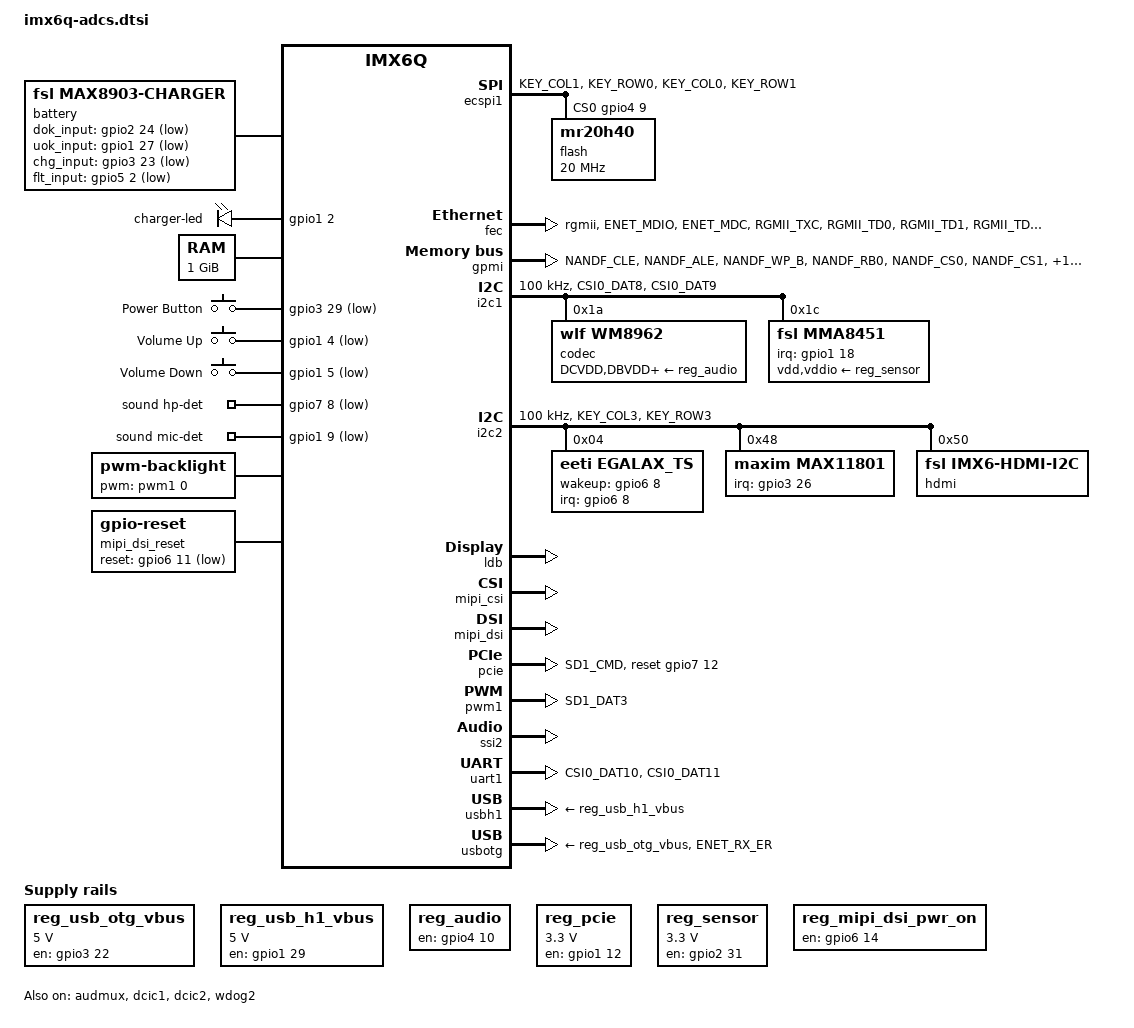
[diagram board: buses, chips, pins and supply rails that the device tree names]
/*
 * Copyright 2012-2015 Freescale Semiconductor, Inc.
 * Copyright 2011 Linaro Ltd.
 *
 * The code contained herein is licensed under the GNU General Public
 * License. You may obtain a copy of the GNU General Public License
 * Version 2 or later at the following locations:
 *
 * http://www.opensource.org/licenses/gpl-license.html
 * http://www.gnu.org/copyleft/gpl.html
 */

#include <dt-bindings/gpio/gpio.h>
#include <dt-bindings/input/input.h>

/ {
	aliases {
		mxcfb0 = &mxcfb1;
		mxcfb1 = &mxcfb2;
		mxcfb2 = &mxcfb3;
		mxcfb3 = &mxcfb4;
	};

	battery: max8903@0 {
		compatible = "fsl,max8903-charger";
		pinctrl-names = "default";
		dok_input = <&gpio2 24 1>;
		uok_input = <&gpio1 27 1>;
		chg_input = <&gpio3 23 1>;
		flt_input = <&gpio5 2 1>;
		fsl,dcm_always_high;
		fsl,dc_valid;
		fsl,usb_valid;
		status = "okay";
	};

	hannstar_cabc {
		compatible = "hannstar,cabc";
		lvds0 {
			gpios = <&gpio6 15 GPIO_ACTIVE_HIGH>;
		};
		lvds1 {
			gpios = <&gpio6 16 GPIO_ACTIVE_HIGH>;
		};
	};

	chosen {
		stdout-path = &uart1;
	};

	leds {
		compatible = "gpio-leds";

		charger-led {
			gpios = <&gpio1 2 0>;
			linux,default-trigger = "max8903-charger-charging";
			retain-state-suspended;
		};
	};

	memory: memory {
		reg = <0x10000000 0x40000000>;
	};

	regulators {
		compatible = "simple-bus";
		#address-cells = <1>;
		#size-cells = <0>;

		reg_usb_otg_vbus: regulator@0 {
			compatible = "regulator-fixed";
			reg = <0>;
			regulator-name = "usb_otg_vbus";
			regulator-min-microvolt = <5000000>;
			regulator-max-microvolt = <5000000>;
			gpio = <&gpio3 22 0>;
			enable-active-high;
		/*	vin-supply = <&swbst_reg>;*/
		};

		reg_usb_h1_vbus: regulator@1 {
			compatible = "regulator-fixed";
			reg = <1>;
			regulator-name = "usb_h1_vbus";
			regulator-min-microvolt = <5000000>;
			regulator-max-microvolt = <5000000>;
			gpio = <&gpio1 29 0>;
			enable-active-high;
			/* vin-supply = <&swbst_reg>;*/
		};

		reg_audio: regulator@2 {
			compatible = "regulator-fixed";
			reg = <2>;
			regulator-name = "wm8962-supply";
			gpio = <&gpio4 10 0>;
			enable-active-high;
		};

		reg_pcie: regulator@3 {
			compatible = "regulator-fixed";
			reg = <3>;
			pinctrl-names = "default";
			pinctrl-0 = <&pinctrl_pcie_reg>;
			regulator-name = "MPCIE_3V3";
			regulator-min-microvolt = <3300000>;
			regulator-max-microvolt = <3300000>;
			gpio = <&gpio1 12 0>;
			regulator-always-on;
			enable-active-high;
		};

		reg_sensor: regulator@4 {
			compatible = "regulator-fixed";
			reg = <4>;
			regulator-name = "sensor-supply";
			regulator-min-microvolt = <3300000>;
			regulator-max-microvolt = <3300000>;
			gpio = <&gpio2 31 0>;
			startup-delay-us = <500>;
			enable-active-high;
		};

		reg_mipi_dsi_pwr_on: mipi_dsi_pwr_on {
			compatible = "regulator-fixed";
			regulator-name = "mipi_dsi_pwr_on";
			gpio = <&gpio6 14 0>;
			enable-active-high;
		};
	};

	gpio-keys {
		compatible = "gpio-keys";
		pinctrl-names = "default";
		pinctrl-0 = <&pinctrl_gpio_keys>;

		power {
			label = "Power Button";
			gpios = <&gpio3 29 GPIO_ACTIVE_LOW>;
			gpio-key,wakeup;
			linux,code = <KEY_POWER>;
		};

		volume-up {
			label = "Volume Up";
			gpios = <&gpio1 4 GPIO_ACTIVE_LOW>;
			gpio-key,wakeup;
			linux,code = <KEY_VOLUMEUP>;
		};

		volume-down {
			label = "Volume Down";
			gpios = <&gpio1 5 GPIO_ACTIVE_LOW>;
			gpio-key,wakeup;
			linux,code = <KEY_VOLUMEDOWN>;
		};
	};

	sound {
		compatible = "fsl,imx6q-sabresd-wm8962",
			   "fsl,imx-audio-wm8962";
		model = "wm8962-audio";
		cpu-dai = <&ssi2>;
		audio-codec = <&codec>;
		asrc-controller = <&asrc>;
		audio-routing =
			"Headphone Jack", "HPOUTL",
			"Headphone Jack", "HPOUTR",
			"Ext Spk", "SPKOUTL",
			"Ext Spk", "SPKOUTR",
			"AMIC", "MICBIAS",
			"IN3R", "AMIC",
			"DMIC", "MICBIAS",
			"DMICDAT", "DMIC",
			"CPU-Playback", "ASRC-Playback",
			"Playback", "CPU-Playback",
			"ASRC-Capture", "CPU-Capture",
			"CPU-Capture", "Capture";
		mux-int-port = <2>;
		mux-ext-port = <3>;
		hp-det-gpios = <&gpio7 8 1>;
		mic-det-gpios = <&gpio1 9 1>;
	};

	sound-hdmi {
		compatible = "fsl,imx6q-audio-hdmi",
			     "fsl,imx-audio-hdmi";
		model = "imx-audio-hdmi";
		hdmi-controller = <&hdmi_audio>;
	};

	mxcfb1: fb@0 {
		compatible = "fsl,mxc_sdc_fb";
		disp_dev = "ldb";
		interface_pix_fmt = "RGB666";
		default_bpp = <16>;
		int_clk = <0>;
		late_init = <0>;
		status = "disabled";
	};

	mxcfb2: fb@1 {
		compatible = "fsl,mxc_sdc_fb";
		disp_dev = "hdmi";
		interface_pix_fmt = "RGB24";
		mode_str ="1920x1080M@60";
		default_bpp = <24>;
		int_clk = <0>;
		late_init = <0>;
		status = "disabled";
	};

	mxcfb3: fb@2 {
		compatible = "fsl,mxc_sdc_fb";
		disp_dev = "lcd";
		interface_pix_fmt = "RGB565";
		mode_str ="CLAA-WVGA";
		default_bpp = <16>;
		int_clk = <0>;
		late_init = <0>;
		status = "disabled";
	};

	mxcfb4: fb@3 {
		compatible = "fsl,mxc_sdc_fb";
		disp_dev = "ldb";
		interface_pix_fmt = "RGB666";
		default_bpp = <16>;
		int_clk = <0>;
		late_init = <0>;
		status = "disabled";
	};

	lcd@0 {
		compatible = "fsl,lcd";
		ipu_id = <0>;
		disp_id = <0>;
		default_ifmt = "RGB565";
		pinctrl-names = "default";
		pinctrl-0 = <&pinctrl_ipu1>;
		status = "okay";
	};

	backlight {
		compatible = "pwm-backlight";
		pwms = <&pwm1 0 5000000>;
		brightness-levels = <0 4 8 16 32 64 128 255>;
		default-brightness-level = <7>;
		status = "okay";
	};

	v4l2_cap_0 {
		compatible = "fsl,imx6q-v4l2-capture";
		ipu_id = <0>;
		csi_id = <0>;
		mclk_source = <0>;
		status = "okay";
	};

	v4l2_cap_1 {
		compatible = "fsl,imx6q-v4l2-capture";
		ipu_id = <0>;
		csi_id = <1>;
		mclk_source = <0>;
		status = "okay";
	};

	v4l2_out {
		compatible = "fsl,mxc_v4l2_output";
		status = "okay";
	};

	mipi_dsi_reset: mipi-dsi-reset {
		compatible = "gpio-reset";
		reset-gpios = <&gpio6 11 GPIO_ACTIVE_LOW>;
		reset-delay-us = <50>;
		#reset-cells = <0>;
	};
};

&audmux {
	pinctrl-names = "default";
	pinctrl-0 = <&pinctrl_audmux>;
	status = "okay";
};



&clks {
	fsl,ldb-di0-parent = <&clks IMX6QDL_CLK_PLL2_PFD0_352M>;
	fsl,ldb-di1-parent = <&clks IMX6QDL_CLK_PLL2_PFD0_352M>;
};

&ecspi1 {
	fsl,spi-num-chipselects = <1>;
	cs-gpios = <&gpio4 9 0>;
	pinctrl-names = "default";
	pinctrl-0 = <&pinctrl_ecspi1>;
	status = "okay";

	flash: mr20h40@0 {
		#address-cells = <1>;
		#size-cells = <1>;
		/*compatible = "st,m25p32"; */
		spi-max-frequency = <20000000>;
		reg = <0>;
	};
};

&fec {
	pinctrl-names = "default";
	pinctrl-0 = <&pinctrl_enet>;
	phy-mode = "rgmii";
	phy-reset-gpios = <&gpio1 28 0>;
	fsl,magic-packet;
	status = "okay";
};

&gpc {
	fsl,ldo-bypass = <1>;
};

&dcic1 {
	dcic_id = <0>;
	dcic_mux = "dcic-hdmi";
	status = "okay";
};

&dcic2 {
	dcic_id = <1>;
	dcic_mux = "dcic-lvds1";
	status = "okay";
};

&gpmi {
	pinctrl-names = "default";
	pinctrl-0 = <&pinctrl_gpmi_nand>;
	status = "okay"; /* pin conflict with uart3 */
	nand-on-flash-bbt;
};

&i2c1 {
	clock-frequency = <100000>;
	pinctrl-names = "default";
	pinctrl-0 = <&pinctrl_i2c1>;
	status = "okay";

	codec: wm8962@1a {
		compatible = "wlf,wm8962";
		reg = <0x1a>;
		clocks = <&clks IMX6QDL_CLK_CKO>;
		DCVDD-supply = <&reg_audio>;
		DBVDD-supply = <&reg_audio>;
		AVDD-supply = <&reg_audio>;
		CPVDD-supply = <&reg_audio>;
		MICVDD-supply = <&reg_audio>;
		PLLVDD-supply = <&reg_audio>;
		SPKVDD1-supply = <&reg_audio>;
		SPKVDD2-supply = <&reg_audio>;
		gpio-cfg = <
			0x0000 /* 0:Default */
			0x0000 /* 1:Default */
			0x0013 /* 2:FN_DMICCLK */
			0x0000 /* 3:Default */
			0x8014 /* 4:FN_DMICCDAT */
			0x0000 /* 5:Default */
		>;
		amic-mono;
       };

	mma8451@1c {
		compatible = "fsl,mma8451";
		reg = <0x1c>;
		position = <0>;
		vdd-supply = <&reg_sensor>;
		vddio-supply = <&reg_sensor>;
		interrupt-parent = <&gpio1>;
		interrupts = <18 8>;
		interrupt-route = <1>;
	};

	
};

&i2c2 {
	clock-frequency = <100000>;
	pinctrl-names = "default";
	pinctrl-0 = <&pinctrl_i2c2>;
	status = "okay";

	egalax_ts@04 {
		compatible = "eeti,egalax_ts";
		reg = <0x04>;
		pinctrl-names = "default";
		pinctrl-0 = <&pinctrl_i2c2_egalax_int>;
		interrupt-parent = <&gpio6>;
		interrupts = <8 2>;
		wakeup-gpios = <&gpio6 8 GPIO_ACTIVE_HIGH>;
	};

	max11801@48 {
		compatible = "maxim,max11801";
		reg = <0x48>;
		interrupt-parent = <&gpio3>;
		interrupts = <26 2>;
		work-mode = <1>;/*DCM mode*/
	};

	

	hdmi: edid@50 {
		compatible = "fsl,imx6-hdmi-i2c";
		reg = <0x50>;
	};

	
};

&i2c3 {
	clock-frequency = <100000>;
	pinctrl-names = "default";
	pinctrl-0 = <&pinctrl_i2c3>;
	status = "okay";

	egalax_ts@04 {
		compatible = "eeti,egalax_ts";
		reg = <0x04>;
		pinctrl-names = "default";
		pinctrl-0 = <&pinctrl_i2c3_egalax_int>;
		interrupt-parent = <&gpio6>;
		interrupts = <7 2>;
		wakeup-gpios = <&gpio6 7 GPIO_ACTIVE_HIGH>;
	};

	isl29023@44 {
		compatible = "fsl,isl29023";
		reg = <0x44>;
		rext = <499>;
		vdd-supply = <&reg_sensor>;
		interrupt-parent = <&gpio3>;
		interrupts = <9 2>;
	};

	mag3110@0e {
		compatible = "fsl,mag3110";
		reg = <0x0e>;
		position = <2>;
		vdd-supply = <&reg_sensor>;
		vddio-supply = <&reg_sensor>;
		interrupt-parent = <&gpio3>;
		interrupts = <16 1>;
	};
};

&iomuxc {
	pinctrl-names = "default";
	pinctrl-0 = <&pinctrl_hog>;

	imx6qdl-sabresd {
		pinctrl_hog: hoggrp {
			fsl,pins = <
				MX6QDL_PAD_NANDF_CS2__GPIO6_IO15 0x1f059
				MX6QDL_PAD_SD2_DAT2__GPIO1_IO13  0x80000000
				MX6QDL_PAD_GPIO_18__SD3_VSELECT 0x17059
				MX6QDL_PAD_EIM_A24__GPIO5_IO04   0x80000000
				MX6QDL_PAD_SD2_DAT0__GPIO1_IO15  0x80000000
				MX6QDL_PAD_EIM_BCLK__GPIO6_IO31 0x80000000
				MX6QDL_PAD_EIM_EB1__GPIO2_IO29	0x80000000
				MX6QDL_PAD_DISP0_DAT23__GPIO5_IO17 0x80000000
				MX6QDL_PAD_SD3_RST__GPIO7_IO08 0x80000000
				MX6QDL_PAD_CSI0_DATA_EN__GPIO5_IO20 0x17059
				 
			>;
		};

		pinctrl_audmux: audmuxgrp {
			fsl,pins = <
				MX6QDL_PAD_CSI0_DAT7__AUD3_RXD		0x130b0
				MX6QDL_PAD_CSI0_DAT4__AUD3_TXC		0x130b0
				MX6QDL_PAD_CSI0_DAT5__AUD3_TXD		0x110b0
				MX6QDL_PAD_CSI0_DAT6__AUD3_TXFS		0x130b0
			>;
		};

		pinctrl_ecspi1: ecspi1grp {
			fsl,pins = <
				MX6QDL_PAD_KEY_COL1__ECSPI1_MISO	0x100b1
				MX6QDL_PAD_KEY_ROW0__ECSPI1_MOSI	0x100b1
				MX6QDL_PAD_KEY_COL0__ECSPI1_SCLK	0x100b1
				MX6QDL_PAD_KEY_ROW1__GPIO4_IO09		0x1b0b0
			>;
		};
		pinctrl_ecspi5: ecspi5grp {
			fsl,pins = <
				MX6QDL_PAD_SD2_DAT0__ECSPI5_MISO	0x100b1
				MX6QDL_PAD_SD2_CMD__ECSPI5_MOSI		0x100b1
				MX6QDL_PAD_SD1_CLK__ECSPI5_SCLK		0x100b1
				MX6QDL_PAD_SD2_DAT1__ECSPI5_SS0		0x1b0b0
				MX6QDL_PAD_SD1_DAT3__ECSPI5_SS2 	0x1b0b0
			>;
		};
		pinctrl_i2c2_egalax_int: egalax_i2c2_intgrp {
			fsl,pins = <
				MX6QDL_PAD_NANDF_ALE__GPIO6_IO08 0x80000000
			>;
		};

		pinctrl_i2c3_egalax_int: egalax_i2c3_intgrp {
			fsl,pins = <
				MX6QDL_PAD_NANDF_CLE__GPIO6_IO07 0x80000000
			>;
		};

		pinctrl_enet: enetgrp {
			fsl,pins = <
				MX6QDL_PAD_ENET_MDIO__ENET_MDIO		0x1b0b0
				MX6QDL_PAD_ENET_MDC__ENET_MDC		0x1b0b0
				MX6QDL_PAD_RGMII_TXC__RGMII_TXC		0x1b0b0
				MX6QDL_PAD_RGMII_TD0__RGMII_TD0		0x1b0b0
				MX6QDL_PAD_RGMII_TD1__RGMII_TD1		0x1b0b0
				MX6QDL_PAD_RGMII_TD2__RGMII_TD2		0x1b0b0
				MX6QDL_PAD_RGMII_TD3__RGMII_TD3		0x1b0b0
				MX6QDL_PAD_RGMII_TX_CTL__RGMII_TX_CTL	0x1b0b0
				MX6QDL_PAD_ENET_REF_CLK__ENET_TX_CLK	0x1b0b0
				MX6QDL_PAD_RGMII_RXC__RGMII_RXC		0x1b0b0
				MX6QDL_PAD_RGMII_RD0__RGMII_RD0		0x1b0b0
				MX6QDL_PAD_RGMII_RD1__RGMII_RD1		0x1b0b0
				MX6QDL_PAD_RGMII_RD2__RGMII_RD2		0x1b0b0
				MX6QDL_PAD_RGMII_RD3__RGMII_RD3		0x1b0b0
				MX6QDL_PAD_RGMII_RX_CTL__RGMII_RX_CTL	0x1b0b0
				 
			>;
		};

		pinctrl_enet_irq: enetirqgrp {
			fsl,pins = <
				MX6QDL_PAD_GPIO_6__ENET_IRQ		0x000b1
			>;
		};

		pinctrl_gpio_keys: gpio_keysgrp {
			fsl,pins = <
				MX6QDL_PAD_EIM_D29__GPIO3_IO29 0x1b0b0
				MX6QDL_PAD_GPIO_4__GPIO1_IO04  0x1b0b0
				MX6QDL_PAD_GPIO_5__GPIO1_IO05  0x1b0b0
			>;
		};

		pinctrl_gpmi_nand: gpminandgrp {
			fsl,pins = <
				MX6QDL_PAD_NANDF_CLE__NAND_CLE		0xb0b1
				MX6QDL_PAD_NANDF_ALE__NAND_ALE		0xb0b1
				MX6QDL_PAD_NANDF_WP_B__NAND_WP_B	0xb0b1
				MX6QDL_PAD_NANDF_RB0__NAND_READY_B	0xb000
				MX6QDL_PAD_NANDF_CS0__NAND_CE0_B	0xb0b1
				MX6QDL_PAD_NANDF_CS1__NAND_CE1_B	0xb0b1
				MX6QDL_PAD_SD4_CMD__NAND_RE_B		0xb0b1
				MX6QDL_PAD_SD4_CLK__NAND_WE_B		0xb0b1
				MX6QDL_PAD_NANDF_D0__NAND_DATA00	0xb0b1
				MX6QDL_PAD_NANDF_D1__NAND_DATA01	0xb0b1
				MX6QDL_PAD_NANDF_D2__NAND_DATA02	0xb0b1
				MX6QDL_PAD_NANDF_D3__NAND_DATA03	0xb0b1
				MX6QDL_PAD_NANDF_D4__NAND_DATA04	0xb0b1
				MX6QDL_PAD_NANDF_D5__NAND_DATA05	0xb0b1
				MX6QDL_PAD_NANDF_D6__NAND_DATA06	0xb0b1
				MX6QDL_PAD_NANDF_D7__NAND_DATA07	0xb0b1
				MX6QDL_PAD_SD4_DAT0__NAND_DQS		0x00b1
			>;
		};

		pinctrl_i2c1: i2c1grp {
			fsl,pins = <
				MX6QDL_PAD_CSI0_DAT8__I2C1_SDA		0x4001b8b1
				MX6QDL_PAD_CSI0_DAT9__I2C1_SCL		0x4001b8b1
			>;
		};

		pinctrl_i2c2: i2c2grp {
			fsl,pins = <
				MX6QDL_PAD_KEY_COL3__I2C2_SCL		0x4001b8b1
				MX6QDL_PAD_KEY_ROW3__I2C2_SDA		0x4001b8b1
			>;
		};

		pinctrl_i2c3: i2c3grp {
			fsl,pins = <
				MX6QDL_PAD_GPIO_3__I2C3_SCL		0x4001b8b1
				MX6QDL_PAD_GPIO_6__I2C3_SDA		0x4001b8b1
			>;
		};

		pinctrl_ipu1: ipu1grp {
			fsl,pins = <
				MX6QDL_PAD_DI0_DISP_CLK__IPU1_DI0_DISP_CLK 0x10
				MX6QDL_PAD_DI0_PIN15__IPU1_DI0_PIN15       0x10
				MX6QDL_PAD_DI0_PIN2__IPU1_DI0_PIN02        0x10
				MX6QDL_PAD_DI0_PIN3__IPU1_DI0_PIN03        0x10
				MX6QDL_PAD_DI0_PIN4__IPU1_DI0_PIN04        0x80000000
				MX6QDL_PAD_DISP0_DAT0__IPU1_DISP0_DATA00   0x10
				MX6QDL_PAD_DISP0_DAT1__IPU1_DISP0_DATA01   0x10
				MX6QDL_PAD_DISP0_DAT2__IPU1_DISP0_DATA02   0x10
				MX6QDL_PAD_DISP0_DAT3__IPU1_DISP0_DATA03   0x10
				MX6QDL_PAD_DISP0_DAT4__IPU1_DISP0_DATA04   0x10
				MX6QDL_PAD_DISP0_DAT5__IPU1_DISP0_DATA05   0x10
				MX6QDL_PAD_DISP0_DAT6__IPU1_DISP0_DATA06   0x10
				MX6QDL_PAD_DISP0_DAT7__IPU1_DISP0_DATA07   0x10
				MX6QDL_PAD_DISP0_DAT8__IPU1_DISP0_DATA08   0x10
				MX6QDL_PAD_DISP0_DAT9__IPU1_DISP0_DATA09   0x10
				MX6QDL_PAD_DISP0_DAT10__IPU1_DISP0_DATA10  0x10
				MX6QDL_PAD_DISP0_DAT11__IPU1_DISP0_DATA11  0x10
				MX6QDL_PAD_DISP0_DAT12__IPU1_DISP0_DATA12  0x10
				MX6QDL_PAD_DISP0_DAT13__IPU1_DISP0_DATA13  0x10
				MX6QDL_PAD_DISP0_DAT14__IPU1_DISP0_DATA14  0x10
				MX6QDL_PAD_DISP0_DAT15__IPU1_DISP0_DATA15  0x10
				MX6QDL_PAD_DISP0_DAT16__IPU1_DISP0_DATA16  0x10
				MX6QDL_PAD_DISP0_DAT17__IPU1_DISP0_DATA17  0x10
				MX6QDL_PAD_DISP0_DAT18__IPU1_DISP0_DATA18  0x10
				MX6QDL_PAD_DISP0_DAT19__IPU1_DISP0_DATA19  0x10
				MX6QDL_PAD_DISP0_DAT20__IPU1_DISP0_DATA20  0x10
				MX6QDL_PAD_DISP0_DAT21__IPU1_DISP0_DATA21  0x10
				MX6QDL_PAD_DISP0_DAT22__IPU1_DISP0_DATA22  0x10
				MX6QDL_PAD_DISP0_DAT23__IPU1_DISP0_DATA23  0x10
				MX6QDL_PAD_SD4_DAT7__GPIO2_IO15					   0x1b0b0
			>;
		};

		

		pinctrl_pcie: pciegrp {
			fsl,pins = <
				MX6QDL_PAD_SD1_CMD__GPIO1_IO18	0x1b0b0
			>;
		};

		pinctrl_pcie_reg: pciereggrp {
			fsl,pins = <
				MX6QDL_PAD_SD2_DAT3__GPIO1_IO12	0x1b0b0
			>;
		};

		pinctrl_pwm1: pwm1grp {
			fsl,pins = <
				MX6QDL_PAD_SD1_DAT3__PWM1_OUT		0x1b0b1
			>;
		};

		pinctrl_uart1: uart1grp {
			fsl,pins = <
				MX6QDL_PAD_CSI0_DAT10__UART1_TX_DATA	0x1b0b1
				MX6QDL_PAD_CSI0_DAT11__UART1_RX_DATA	0x1b0b1
			>;
		};

		pinctrl_uart5_1: uart5grp-1 {
			fsl,pins = <
				MX6QDL_PAD_KEY_COL1__UART5_TX_DATA	0x1b0b1
				MX6QDL_PAD_KEY_ROW1__UART5_RX_DATA	0x1b0b1
				MX6QDL_PAD_KEY_COL4__UART5_RTS_B	0x1b0b1
				MX6QDL_PAD_KEY_ROW4__UART5_CTS_B	0x1b0b1
			>;
		};

		pinctrl_uart5dte_1: uart5dtegrp-1 {
			fsl,pins = <
				MX6QDL_PAD_KEY_ROW1__UART5_TX_DATA	0x1b0b1
				MX6QDL_PAD_KEY_COL1__UART5_RX_DATA	0x1b0b1
				MX6QDL_PAD_KEY_ROW4__UART5_RTS_B	0x1b0b1
				MX6QDL_PAD_KEY_COL4__UART5_CTS_B	0x1b0b1
			>;
		};

		pinctrl_usbotg: usbotggrp {
			fsl,pins = <
				MX6QDL_PAD_ENET_RX_ER__USB_OTG_ID	0x17059
			>;
		};

		

		pinctrl_wdog: wdoggrp {
			fsl,pins = <
				MX6QDL_PAD_SD1_DAT2__WDOG1_B 0x80000000
		
			>;
		};
	};

	gpio_leds {
		pinctrl_gpio_leds: gpioledsgrp {
			fsl,pins = <
				MX6QDL_PAD_GPIO_2__GPIO1_IO02 0x1b0b0
			>;
		};
	};
	
		pinctrl_weim_cs0: weimcs0grp {
			fsl,pins = <
				MX6QDL_PAD_EIM_CS0__EIM_CS0_B		0xb0b1
			>;
		};

		pinctrl_weim_nor: weimnorgrp {
			fsl,pins = <
				MX6QDL_PAD_EIM_OE__EIM_OE_B		0xb0b1
				MX6QDL_PAD_EIM_RW__EIM_RW		0xb0b1
				MX6QDL_PAD_EIM_WAIT__EIM_WAIT_B		0xb060
				MX6QDL_PAD_EIM_D16__EIM_DATA16		0x1b0b0
				MX6QDL_PAD_EIM_D17__EIM_DATA17		0x1b0b0
				MX6QDL_PAD_EIM_D18__EIM_DATA18		0x1b0b0
				MX6QDL_PAD_EIM_D19__EIM_DATA19		0x1b0b0
				MX6QDL_PAD_EIM_D20__EIM_DATA20		0x1b0b0
				MX6QDL_PAD_EIM_D21__EIM_DATA21		0x1b0b0
				MX6QDL_PAD_EIM_D22__EIM_DATA22		0x1b0b0
				MX6QDL_PAD_EIM_D23__EIM_DATA23		0x1b0b0
				MX6QDL_PAD_EIM_D24__EIM_DATA24		0x1b0b0
				MX6QDL_PAD_EIM_D25__EIM_DATA25		0x1b0b0
				MX6QDL_PAD_EIM_D26__EIM_DATA26		0x1b0b0
				MX6QDL_PAD_EIM_D27__EIM_DATA27		0x1b0b0
				MX6QDL_PAD_EIM_D28__EIM_DATA28		0x1b0b0
				MX6QDL_PAD_EIM_D29__EIM_DATA29		0x1b0b0
				MX6QDL_PAD_EIM_D30__EIM_DATA30		0x1b0b0
				MX6QDL_PAD_EIM_D31__EIM_DATA31		0x1b0b0
				MX6QDL_PAD_EIM_A23__EIM_ADDR23		0xb0b1
				MX6QDL_PAD_EIM_A22__EIM_ADDR22		0xb0b1
				MX6QDL_PAD_EIM_A21__EIM_ADDR21		0xb0b1
				MX6QDL_PAD_EIM_A20__EIM_ADDR20		0xb0b1
				MX6QDL_PAD_EIM_A19__EIM_ADDR19		0xb0b1
				MX6QDL_PAD_EIM_A18__EIM_ADDR18		0xb0b1
				MX6QDL_PAD_EIM_A17__EIM_ADDR17		0xb0b1
				MX6QDL_PAD_EIM_A16__EIM_ADDR16		0xb0b1
				MX6QDL_PAD_EIM_DA15__EIM_AD15		0xb0b1
				MX6QDL_PAD_EIM_DA14__EIM_AD14		0xb0b1
				MX6QDL_PAD_EIM_DA13__EIM_AD13		0xb0b1
				MX6QDL_PAD_EIM_DA12__EIM_AD12		0xb0b1
				MX6QDL_PAD_EIM_DA11__EIM_AD11		0xb0b1
				MX6QDL_PAD_EIM_DA10__EIM_AD10		0xb0b1
				MX6QDL_PAD_EIM_DA9__EIM_AD09		0xb0b1
				MX6QDL_PAD_EIM_DA8__EIM_AD08		0xb0b1
				MX6QDL_PAD_EIM_DA7__EIM_AD07		0xb0b1
				MX6QDL_PAD_EIM_DA6__EIM_AD06		0xb0b1
				MX6QDL_PAD_EIM_DA5__EIM_AD05		0xb0b1
				MX6QDL_PAD_EIM_DA4__EIM_AD04		0xb0b1
				MX6QDL_PAD_EIM_DA3__EIM_AD03		0xb0b1
				MX6QDL_PAD_EIM_DA2__EIM_AD02		0xb0b1
				MX6QDL_PAD_EIM_DA1__EIM_AD01		0xb0b1
				MX6QDL_PAD_EIM_DA0__EIM_AD00		0xb0b1
			>;
		};
 
};

&ldb {
	status = "okay";

	lvds-channel@0 {
		fsl,data-mapping = "spwg";
		fsl,data-width = <18>;
		status = "okay";

		display-timings {
			native-mode = <&timing0>;
			timing0: hsd100pxn1 {
				clock-frequency = <65000000>;
				hactive = <1024>;
				vactive = <768>;
				hback-porch = <220>;
				hfront-porch = <40>;
				vback-porch = <21>;
				vfront-porch = <7>;
				hsync-len = <60>;
				vsync-len = <10>;
			};
		};
	};

	lvds-channel@1 {
		fsl,data-mapping = "spwg";
		fsl,data-width = <18>;
		primary;
		status = "okay";

		display-timings {
			native-mode = <&timing1>;
			timing1: hsd100pxn1 {
				clock-frequency = <65000000>;
				hactive = <1024>;
				vactive = <768>;
				hback-porch = <220>;
				hfront-porch = <40>;
				vback-porch = <21>;
				vfront-porch = <7>;
				hsync-len = <60>;
				vsync-len = <10>;
			};
		};
	};
};

&mipi_csi {
	status = "okay";
	ipu_id = <0>;
	csi_id = <1>;
	v_channel = <0>;
	lanes = <2>;
};

&mipi_dsi {
	dev_id = <0>;
	disp_id = <1>;
	lcd_panel = "TRULY-WVGA";
	disp-power-on-supply = <&reg_mipi_dsi_pwr_on>;
	resets = <&mipi_dsi_reset>;
	status = "okay";
};

&pcie {
	pinctrl-names = "default";
	pinctrl-0 = <&pinctrl_pcie>;
	reset-gpio = <&gpio7 12 0>;
	status = "okay";
};

&pwm1 {
	pinctrl-names = "default";
	pinctrl-0 = <&pinctrl_pwm1>;
	status = "okay";
};

&snvs_poweroff {
	status = "okay";
};

&ssi2 {
	status = "okay";
};

&uart1 {
	pinctrl-names = "default";
	pinctrl-0 = <&pinctrl_uart1>;
	status = "okay";
};

&usbh1 {
	vbus-supply = <&reg_usb_h1_vbus>;
	status = "okay";
};

&usbotg {
	vbus-supply = <&reg_usb_otg_vbus>;
	pinctrl-names = "default";
	pinctrl-0 = <&pinctrl_usbotg>;
	disable-over-current;
	srp-disable;
	hnp-disable;
	adp-disable;
	status = "okay";
};

&usbphy1 {
	tx-d-cal = <0x5>;
};

&usbphy2 {
	tx-d-cal = <0x5>;
};

&wdog1 {
	status = "disabled";
};

&wdog2 {
	pinctrl-names = "default";
	pinctrl-0 = <&pinctrl_wdog>;
	fsl,wdog_b;
	status = "okay";
};

&fec {
	pinctrl-0 = <&pinctrl_enet &pinctrl_enet_irq>;
	interrupts-extended = <&gpio1 6 0x04>, <&gpc 0 119 0x04>;
};

&i2c3 {
	status = "disabled";
};
